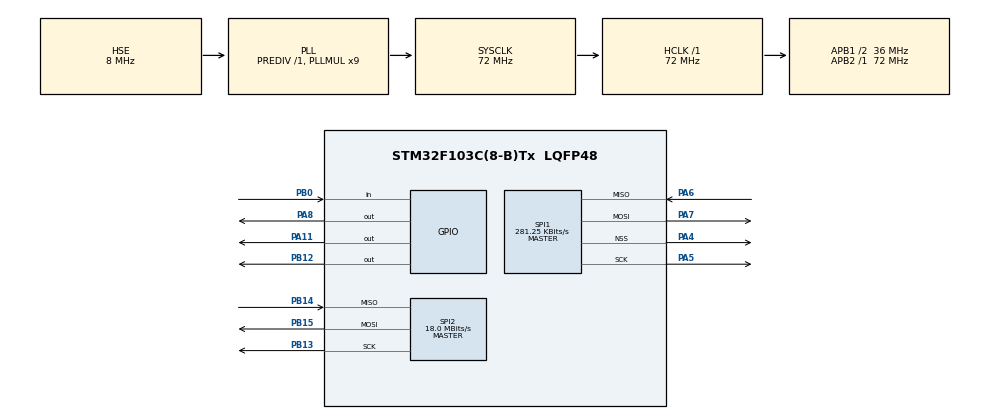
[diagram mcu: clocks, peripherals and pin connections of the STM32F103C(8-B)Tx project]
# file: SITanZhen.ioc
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Mcu.Family=STM32F1
Mcu.Name=STM32F103C(8-B)Tx
Mcu.Package=LQFP48
NVIC.PriorityGroup=NVIC_PRIORITYGROUP_4
PA11.Signal=GPIO_Output
PA13.Mode=Serial_Wire
PA13.Signal=SYS_JTMS-SWDIO
PA14.Mode=Serial_Wire
PA14.Signal=SYS_JTCK-SWCLK
PA4.Mode=NSS_Signal_Hard_Output
PA4.Signal=SPI1_NSS
PA5.Mode=Full_Duplex_Master
PA5.Signal=SPI1_SCK
PA6.Mode=Full_Duplex_Master
PA6.Signal=SPI1_MISO
PA7.Mode=Full_Duplex_Master
PA7.Signal=SPI1_MOSI
PA8.Signal=GPIO_Output
PB0.Signal=GPIO_Input
PB12.Signal=GPIO_Output
PB13.Mode=Full_Duplex_Master
PB13.Signal=SPI2_SCK
PB14.Mode=Full_Duplex_Master
PB14.Signal=SPI2_MISO
PB15.Mode=Full_Duplex_Master
PB15.Signal=SPI2_MOSI
PD0-OSC_IN.Mode=HSE-External-Oscillator
PD0-OSC_IN.Signal=RCC_OSC_IN
PD1-OSC_OUT.Mode=HSE-External-Oscillator
PD1-OSC_OUT.Signal=RCC_OSC_OUT
ProjectManager.HeapSize=0x200
ProjectManager.StackSize=0x400
ProjectManager.TargetToolchain=MDK-ARM V5.32
RCC.AHBFreq_Value=72000000
RCC.APB1CLKDivider=RCC_HCLK_DIV2
RCC.APB1Freq_Value=36000000
RCC.APB1TimFreq_Value=72000000
RCC.APB2Freq_Value=72000000
RCC.APB2TimFreq_Value=72000000
RCC.HCLKFreq_Value=72000000
RCC.PLLMUL=RCC_PLL_MUL9
RCC.PLLSourceVirtual=RCC_PLLSOURCE_HSE
RCC.SYSCLKFreq_VALUE=72000000
RCC.SYSCLKSource=RCC_SYSCLKSOURCE_PLLCLK
RCC.USBFreq_Value=72000000
SPI1.BaudRatePrescaler=SPI_BAUDRATEPRESCALER_256
SPI1.CLKPhase=SPI_PHASE_2EDGE
SPI1.CalculateBaudRate=281.25 KBits/s
SPI1.Direction=SPI_DIRECTION_2LINES
SPI1.Mode=SPI_MODE_MASTER
SPI1.VirtualNSS=VM_NSSHARD
SPI1.VirtualType=VM_MASTER
SPI2.CalculateBaudRate=18.0 MBits/s
SPI2.Direction=SPI_DIRECTION_2LINES
SPI2.Mode=SPI_MODE_MASTER
SPI2.VirtualType=VM_MASTER
board=custom

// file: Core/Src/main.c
/* USER CODE BEGIN Header */
/**
  ******************************************************************************
  * @file           : main.c
  * @brief          : Main program body
  ******************************************************************************
  * @attention
  *
  * Copyright (c) 2025 STMicroelectronics.
  * All rights reserved.
  *
  * This software is licensed under terms that can be found in the LICENSE file
  * in the root directory of this software component.
  * If no LICENSE file comes with this software, it is provided AS-IS.
  *
  ******************************************************************************
  */
/* USER CODE END Header */
#include "main.h"
#include "spi.h"
#include "gpio.h"

/* USER CODE BEGIN Includes */
#include "DAC8562.h"
#include "ADS1220.h"
/* USER CODE END Includes */

/* USER CODE BEGIN PV */
uint32_t ch2;
uint32_t ch1;
float volt_ch2;
float volt_ch1;
/* USER CODE END PV */

void SystemClock_Config(void);

int main(void)
{

  /* MCU Configuration--------------------------------------------------------*/

  /* Reset of all peripherals, Initializes the Flash interface and the Systick. */
  HAL_Init();

  /* Configure the system clock */
  SystemClock_Config();

  /* Initialize all configured peripherals */
  MX_GPIO_Init();
  MX_SPI1_Init();
  MX_SPI2_Init();
  /* USER CODE BEGIN 2 */
  ADS1220_regs regs = ADS1220_default_regs;
  uint8_t ini = ADS1220_init(&hspi1, &regs); // Optionally check for failure
	ch1 = ADS1220_read_singleshot_channel(&hspi1, ADS1220_MUX_AIN1_AVSS, &regs, ADS1220_DRDY_GPIO_Port, ADS1220_DRDY_Pin, 100);
	ch2 = ADS1220_read_singleshot_channel(&hspi1, ADS1220_MUX_AIN2_AVSS, &regs, ADS1220_DRDY_GPIO_Port, ADS1220_DRDY_Pin, 100);

	HAL_Delay(100);
	DAC8562_Init();
	DAC8562_SetVoltage(2.45f);
  /* USER CODE END 2 */

  /* Infinite loop */
  /* USER CODE BEGIN WHILE */
  while (1)
  {
	  ch2 = ADS1220_read_singleshot_channel(&hspi1, ADS1220_MUX_AIN2_AVSS, &regs, ADS1220_DRDY_GPIO_Port, ADS1220_DRDY_Pin, 100);
	  volt_ch2=ch2*5.f/8388607;
	  HAL_Delay(500);
	  ch1 = ADS1220_read_singleshot_channel(&hspi1, ADS1220_MUX_AIN1_AVSS, &regs, ADS1220_DRDY_GPIO_Port, ADS1220_DRDY_Pin, 100);
	  volt_ch1=ch1*5.f/8388607;
	  HAL_Delay(500);
    /* USER CODE END WHILE */

  }
}

void SystemClock_Config(void)
{
  RCC_OscInitTypeDef RCC_OscInitStruct = {0};
  RCC_ClkInitTypeDef RCC_ClkInitStruct = {0};

  /** Initializes the RCC Oscillators according to the specified parameters
  * in the RCC_OscInitTypeDef structure.
  */
  RCC_OscInitStruct.OscillatorType = RCC_OSCILLATORTYPE_HSE;
  RCC_OscInitStruct.HSEState = RCC_HSE_ON;
  RCC_OscInitStruct.HSEPredivValue = RCC_HSE_PREDIV_DIV1;
  RCC_OscInitStruct.HSIState = RCC_HSI_ON;
  RCC_OscInitStruct.PLL.PLLState = RCC_PLL_ON;
  RCC_OscInitStruct.PLL.PLLSource = RCC_PLLSOURCE_HSE;
  RCC_OscInitStruct.PLL.PLLMUL = RCC_PLL_MUL9;
  if (HAL_RCC_OscConfig(&RCC_OscInitStruct) != HAL_OK)
  {
    Error_Handler();
  }

  /** Initializes the CPU, AHB and APB buses clocks
  */
  RCC_ClkInitStruct.ClockType = RCC_CLOCKTYPE_HCLK|RCC_CLOCKTYPE_SYSCLK
                              |RCC_CLOCKTYPE_PCLK1|RCC_CLOCKTYPE_PCLK2;
  RCC_ClkInitStruct.SYSCLKSource = RCC_SYSCLKSOURCE_PLLCLK;
  RCC_ClkInitStruct.AHBCLKDivider = RCC_SYSCLK_DIV1;
  RCC_ClkInitStruct.APB1CLKDivider = RCC_HCLK_DIV2;
  RCC_ClkInitStruct.APB2CLKDivider = RCC_HCLK_DIV1;

  if (HAL_RCC_ClockConfig(&RCC_ClkInitStruct, FLASH_LATENCY_2) != HAL_OK)
  {
    Error_Handler();
  }
}

void Error_Handler(void)
{
  __disable_irq();
  while (1)
  {
  }
}
